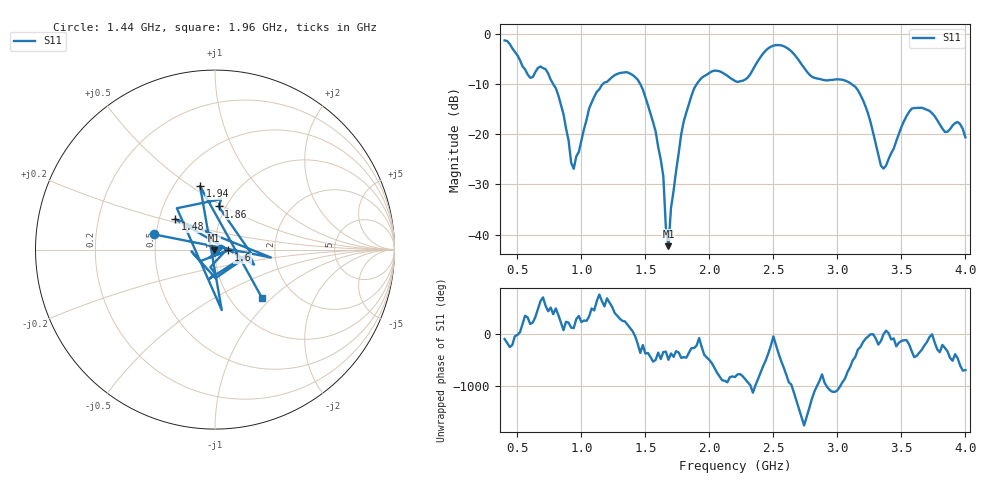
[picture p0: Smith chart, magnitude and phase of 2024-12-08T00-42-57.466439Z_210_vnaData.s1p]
!Created with skrf (http://scikit-rf.org).
# Hz S RI R 50.0
!freq ReS11 ImS11
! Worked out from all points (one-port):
!   181 points, 400 MHz to 4 GHz, reference 50 ohm
!   lowest |S11| = -42.3 dB at 1.68 GHz (marker M1), VSWR 1.02, Z = 49.4 - j0.48 ohm
!   |S11| at or under -10 dB: 778.6 MHz to 1.169 GHz (390.6 MHz wide, 40.1 % of centre); 1.459 GHz to 1.902 GHz (443.4 MHz wide, 26.4 % of centre); 3.108 GHz to end of sweep
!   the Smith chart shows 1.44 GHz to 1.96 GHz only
!   S11 on the Smith chart (normalised r, x): 1.44 GHz: 0.49, +0.09; 1.48 GHz: 0.61, +0.22; 1.6 GHz: 1.16, -0.01; 1.86 GHz: 0.93, +0.47; 1.94 GHz: 0.67, +0.54; 1.96 GHz: 1.39, -0.88
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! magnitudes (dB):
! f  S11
! 400 MHz  -1.4
! 600 MHz  -8.8
! 720 MHz  -7.1
! 860 MHz  -16.0
! 940 MHz  -26.9
! 1.1 GHz  -12.6
! 1.3 GHz  -7.9
! 1.44 GHz  -9.2
! 1.48 GHz  -11.1
! 1.6 GHz  -22.6
! 1.64 GHz  -28.4
! 1.66 GHz  -38.6
! 1.68 GHz  -42.3
! 1.7 GHz  -34.7
! 1.76 GHz  -23.8
! 1.86 GHz  -12.4
! 1.94 GHz  -8.8
! 1.96 GHz  -8.5
! 2.2 GHz  -9.4
! 2.48 GHz  -2.6
! 2.66 GHz  -4.1
! 2.8 GHz  -8.6
! 3.1 GHz  -9.8
! 3.22 GHz  -14.5
! 3.36 GHz  -26.9
! 3.56 GHz  -15.6
! 3.94 GHz  -17.6
! 4 GHz  -20.6
